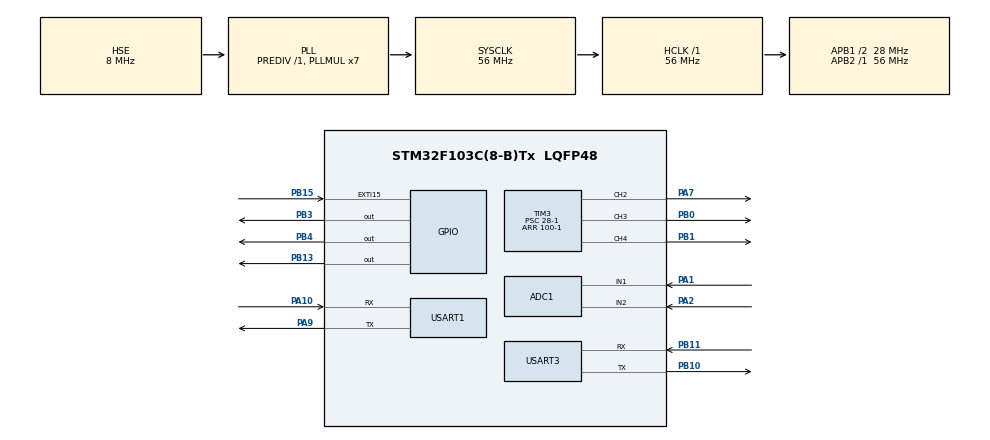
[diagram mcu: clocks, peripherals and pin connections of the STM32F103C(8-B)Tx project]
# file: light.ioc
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ADC1.Channel-0\#ChannelRegularConversion=ADC_CHANNEL_1
ADC1.Channel-1\#ChannelRegularConversion=ADC_CHANNEL_2
ADC1.ContinuousConvMode=DISABLE
ADC1.ExternalTrigConv=ADC_SOFTWARE_START
ADC1.NbrOfConversion=2
ADC1.NbrOfConversionFlag=1
ADC1.Rank-0\#ChannelRegularConversion=1
ADC1.Rank-1\#ChannelRegularConversion=2
ADC1.SamplingTime-0\#ChannelRegularConversion=ADC_SAMPLETIME_71CYCLES_5
ADC1.SamplingTime-1\#ChannelRegularConversion=ADC_SAMPLETIME_71CYCLES_5
ADC1.master=1
Dma.ADC1.4.Direction=DMA_PERIPH_TO_MEMORY
Dma.ADC1.4.Instance=DMA1_Channel1
Dma.ADC1.4.MemDataAlignment=DMA_MDATAALIGN_WORD
Dma.ADC1.4.MemInc=DMA_MINC_ENABLE
Dma.ADC1.4.Mode=DMA_CIRCULAR
Dma.ADC1.4.PeriphDataAlignment=DMA_PDATAALIGN_WORD
Dma.ADC1.4.PeriphInc=DMA_PINC_DISABLE
Dma.ADC1.4.Priority=DMA_PRIORITY_LOW
Dma.Request0=USART1_RX
Dma.Request1=USART1_TX
Dma.Request2=USART3_RX
Dma.Request3=USART3_TX
Dma.Request4=ADC1
Dma.USART1_RX.0.Direction=DMA_PERIPH_TO_MEMORY
Dma.USART1_RX.0.Instance=DMA1_Channel5
Dma.USART1_RX.0.MemDataAlignment=DMA_MDATAALIGN_BYTE
Dma.USART1_RX.0.MemInc=DMA_MINC_ENABLE
Dma.USART1_RX.0.Mode=DMA_CIRCULAR
Dma.USART1_RX.0.PeriphDataAlignment=DMA_PDATAALIGN_BYTE
Dma.USART1_RX.0.PeriphInc=DMA_PINC_DISABLE
Dma.USART1_RX.0.Priority=DMA_PRIORITY_LOW
Dma.USART1_TX.1.Direction=DMA_MEMORY_TO_PERIPH
Dma.USART1_TX.1.Instance=DMA1_Channel4
Dma.USART1_TX.1.MemDataAlignment=DMA_MDATAALIGN_BYTE
Dma.USART1_TX.1.MemInc=DMA_MINC_ENABLE
Dma.USART1_TX.1.Mode=DMA_NORMAL
Dma.USART1_TX.1.PeriphDataAlignment=DMA_PDATAALIGN_BYTE
Dma.USART1_TX.1.PeriphInc=DMA_PINC_DISABLE
Dma.USART1_TX.1.Priority=DMA_PRIORITY_LOW
Dma.USART3_RX.2.Direction=DMA_PERIPH_TO_MEMORY
Dma.USART3_RX.2.Instance=DMA1_Channel3
Dma.USART3_RX.2.MemDataAlignment=DMA_MDATAALIGN_BYTE
Dma.USART3_RX.2.MemInc=DMA_MINC_ENABLE
Dma.USART3_RX.2.Mode=DMA_CIRCULAR
Dma.USART3_RX.2.PeriphDataAlignment=DMA_PDATAALIGN_BYTE
Dma.USART3_RX.2.PeriphInc=DMA_PINC_DISABLE
Dma.USART3_RX.2.Priority=DMA_PRIORITY_LOW
Dma.USART3_TX.3.Direction=DMA_MEMORY_TO_PERIPH
Dma.USART3_TX.3.Instance=DMA1_Channel2
Dma.USART3_TX.3.MemDataAlignment=DMA_MDATAALIGN_BYTE
Dma.USART3_TX.3.MemInc=DMA_MINC_ENABLE
Dma.USART3_TX.3.Mode=DMA_NORMAL
Dma.USART3_TX.3.PeriphDataAlignment=DMA_PDATAALIGN_BYTE
Dma.USART3_TX.3.PeriphInc=DMA_PINC_DISABLE
Dma.USART3_TX.3.Priority=DMA_PRIORITY_LOW
Mcu.Family=STM32F1
Mcu.Name=STM32F103C(8-B)Tx
Mcu.Package=LQFP48
NVIC.ADC1_2_IRQn=true\:1\:0\:true\:false\:true\:true\:true
NVIC.DMA1_Channel1_IRQn=true\:0\:0\:false\:false\:true\:false\:true
NVIC.DMA1_Channel2_IRQn=true\:0\:0\:false\:false\:true\:false\:true
NVIC.DMA1_Channel3_IRQn=true\:0\:0\:false\:false\:true\:false\:true
NVIC.DMA1_Channel4_IRQn=true\:0\:0\:false\:false\:true\:false\:true
NVIC.DMA1_Channel5_IRQn=true\:0\:0\:false\:false\:true\:false\:true
NVIC.EXTI15_10_IRQn=true\:1\:0\:true\:false\:true\:true\:true
NVIC.PriorityGroup=NVIC_PRIORITYGROUP_4
NVIC.TIM3_IRQn=true\:1\:0\:true\:false\:true\:true\:true
NVIC.USART1_IRQn=true\:1\:0\:true\:false\:true\:true\:true
NVIC.USART3_IRQn=true\:2\:0\:true\:false\:true\:true\:true
PA1.Signal=ADCx_IN1
PA10.Mode=Asynchronous
PA10.Signal=USART1_RX
PA13.Mode=Serial_Wire
PA13.Signal=SYS_JTMS-SWDIO
PA14.Mode=Serial_Wire
PA14.Signal=SYS_JTCK-SWCLK
PA2.Signal=ADCx_IN2
PA7.Signal=S_TIM3_CH2
PA9.Mode=Asynchronous
PA9.Signal=USART1_TX
PB0.Signal=S_TIM3_CH3
PB1.Signal=S_TIM3_CH4
PB10.Mode=Asynchronous
PB10.Signal=USART3_TX
PB11.Mode=Asynchronous
PB11.Signal=USART3_RX
PB13.Signal=GPIO_Output
PB15.Signal=GPXTI15
PB3.PinState=GPIO_PIN_SET
PB3.Signal=GPIO_Output
PB4.PinState=GPIO_PIN_SET
PB4.Signal=GPIO_Output
PD0-OSC_IN.Mode=HSE-External-Oscillator
PD0-OSC_IN.Signal=RCC_OSC_IN
PD1-OSC_OUT.Mode=HSE-External-Oscillator
PD1-OSC_OUT.Signal=RCC_OSC_OUT
ProjectManager.HeapSize=0x200
ProjectManager.StackSize=0x400
ProjectManager.TargetToolchain=STM32CubeIDE
RCC.ADCPresc=RCC_ADCPCLK2_DIV4
RCC.AHBFreq_Value=56000000
RCC.APB1CLKDivider=RCC_HCLK_DIV2
RCC.APB1Freq_Value=28000000
RCC.APB1TimFreq_Value=56000000
RCC.APB2Freq_Value=56000000
RCC.APB2TimFreq_Value=56000000
RCC.HCLKFreq_Value=56000000
RCC.PLLMUL=RCC_PLL_MUL7
RCC.PLLSourceVirtual=RCC_PLLSOURCE_HSE
RCC.SYSCLKFreq_VALUE=56000000
RCC.SYSCLKSource=RCC_SYSCLKSOURCE_PLLCLK
RCC.USBFreq_Value=56000000
SH.ADCx_IN1.0=ADC1_IN1,IN1
SH.ADCx_IN2.0=ADC1_IN2,IN2
SH.S_TIM3_CH2.0=TIM3_CH2,PWM Generation2 CH2
SH.S_TIM3_CH3.0=TIM3_CH3,PWM Generation3 CH3
SH.S_TIM3_CH4.0=TIM3_CH4,PWM Generation4 CH4
TIM3.Channel-PWM\ Generation2\ CH2=TIM_CHANNEL_2
TIM3.Channel-PWM\ Generation3\ CH3=TIM_CHANNEL_3
TIM3.Channel-PWM\ Generation4\ CH4=TIM_CHANNEL_4
TIM3.Period=100-1
TIM3.Prescaler=28-1
TIM3.TIM_MasterOutputTrigger=TIM_TRGO_RESET
USART1.VirtualMode=VM_ASYNC
USART3.VirtualMode=VM_ASYNC
VP_TIM3_VS_ClockSourceINT.Mode=Internal
board=custom

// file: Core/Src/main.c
/* USER CODE BEGIN Header */
/**
  ******************************************************************************
  * @file           : main.c
  * @brief          : Main program body
  ******************************************************************************
  * @attention
  *
  * <h2><center>&copy; Copyright (c) 2020 STMicroelectronics.
  * All rights reserved.</center></h2>
  *
  * This software component is licensed by ST under BSD 3-Clause license,
  * the "License"; You may not use this file except in compliance with the
  * License. You may obtain a copy of the License at:
  *                        opensource.org/licenses/BSD-3-Clause
  *
  ******************************************************************************
  */
/**
 * 时钟及引脚配置
 *
 * 外部8MHz时钟，APB2时钟为56MHz,ADC为14MHz
 * ADC_CH1,ADC_CH2采样时间为71.5+12.5 Cycle
 * TIM3用于定时采集声音及光线强度，在APB2总线上，考虑到人听音范围为20Hz-20KHz，故设定Prescaler=14-1,Counter Peroid=100-1
 * 求得TIM的中断频率为 APB2Clock/((Prescaler+1)*(Counter Peroid+1))=20KHz,根据奈奎斯特采样定律应取40KHz,但受限于硬件设施，这里取10KHz
 * 同时ADC的转换时间为Sampling Time = (Cycle+12.5)/F × cn = 12us, 小于中断时间100us，每次中断AD转换可以完成
 * 用于驱动全彩LED的PWM输出引脚，其PWM占空比的计算为 PSB = Pulse/Counter Peroid，Plus对应到TIM3->CCRn
 *
 * PA9-USART1_TX: ZigBee_Rx-17
 * PA10-USART1_RX: ZigBee_Tx-16
 * PB3-GPIO_Output: ZigBee_Mode-13
 * PB4-GPIO_Output: ZigBee_RST
 *
 * PB10-USART3_TX: Debug_Rx
 * PB11-USART3_RX: Debug_Tx
 *
 * PB15-GPIO_Exit: TouchSwitch-IO
 * PB13-GPIO_Output: Relay-IN
 *
 * PA1-ADC1_IN1: LightSensor-S
 * PA2-ADC2_IN2: VoiceSensor-AO
 *
 * PA7-TIM3_CH2: FulColoredLED_R
 * PB0-TIM3_CH3: FulColoredLED_G
 * PB1-TIM3_CH4: FulColoredLED_B
 */
/* USER CODE END Header */

#include "main.h"

/* USER CODE BEGIN Includes */
#include "stdio.h"
#include "math.h"
/* USER CODE END Includes */

/* USER CODE BEGIN PD */

// 用于串口输出到ZigBee的数组的大小
#define UART_ZB_BUF_SIZE 10
// 用于串口输出到Log的数组大小
#define UART_LOG_BUF_SIZE 128

// 声音信号的暂存数组大小
#define VOICE_BUF_SIZE 100
#define VOICE_BUF_PER_SIZE 100

// 存储前ns声音信号的值
#define VOICE_STORE_N 3

// ZigBee 发送数据长度
#define ZB_SEND_DATA_LEN 8
// ZigBee 接收数据长度
#define ZB_RECEIVE_DATA_LEN 5

// 串口输出到ZigBee，DMA方式
#define sendToZBByDMA(...) HAL_UART_Transmit_DMA(&huart1,\
										(uint8_t*)uart_ZB_buf,\
										sprintf(uart_ZB_buf, __VA_ARGS__))
// 串口输出到ZigBee，IT方式
#define sendToZBByIT(...) HAL_UART_Transmit_IT(&huart1,\
										(uint8_t*)uart_ZB_buf,\
										sprintf(uart_ZB_buf, __VA_ARGS__))
// 串口输出到Log，DMA方式
#define sendToLogByDMA(...) HAL_UART_Transmit_DMA(&huart3,\
										(uint8_t*)uart_log_buf,\
										sprintf(uart_log_buf, __VA_ARGS__))
// 串口输出到Log，IT方式
#define sendToLogByIT(...) HAL_UART_Transmit_IT(&huart3,\
										(uint8_t*)uart_log_buf,\
										sprintf(uart_log_buf, __VA_ARGS__))
/* USER CODE END PD */

ADC_HandleTypeDef hadc1;
DMA_HandleTypeDef hdma_adc1;

TIM_HandleTypeDef htim3;

UART_HandleTypeDef huart1;
UART_HandleTypeDef huart3;
DMA_HandleTypeDef hdma_usart1_rx;
DMA_HandleTypeDef hdma_usart1_tx;
DMA_HandleTypeDef hdma_usart3_rx;
DMA_HandleTypeDef hdma_usart3_tx;

/* USER CODE BEGIN PV */

// 设备地址
const char DEVICE_ADDRESS = 'b';
// 设备类型
const char DEVICE_TYPE = 'b';
// 配对码
const char DEVICE_PAIR = 'n';

// 上次执行的命令代码
char cmd_idx = 0;

// 场景模式开关
// 1. 进门灯 2. 声控灯 3. 人体感应灯 4. 离家 5. 定时 6. 自动
char state[6] = {'b'};
uint16_t voice_light_count = 0;
uint8_t voice_light_on = 0;

// ZigBee接收到数据的标志
uint8_t is_ZB_rec = 0;
// ZigBee接收数据缓存
uint8_t ZB_rec_buf[ZB_RECEIVE_DATA_LEN];
// 用于串口输出到ZigBee的数组的大小
char uart_ZB_buf[UART_ZB_BUF_SIZE];
char zb_send[UART_ZB_BUF_SIZE];

// 用于串口输出到Log的数组
char uart_log_buf[UART_LOG_BUF_SIZE];

// 用于ADC转换存储的数组
uint32_t adc_buf[2];

// 用于记录当前1s内采集到的声音信号
uint8_t voice_s[VOICE_BUF_SIZE] = {0};
// 用于记录当前1/200s内采集到的声音信号
uint8_t voice_s_p[VOICE_BUF_PER_SIZE] = {0};
// 上述对应信号容器的索引值
uint8_t voice_s_idx = 0;
uint8_t voice_s_p_idx = 0;

// 用于存储前ns声音信号的最大值
uint8_t voice_t[VOICE_STORE_N] = {0};
uint8_t voice_t_idx = 0;

// 当前信号转换后的值
uint8_t light_current = 0;
uint8_t voice_current = 0;

/* USER CODE END PV */

void SystemClock_Config(void);
static void MX_GPIO_Init(void);
static void MX_DMA_Init(void);
static void MX_ADC1_Init(void);
static void MX_TIM3_Init(void);
static void MX_USART1_UART_Init(void);
static void MX_USART3_UART_Init(void);
/* USER CODE BEGIN PFP */

// 控制全彩LED的函数，细致控制
// 该LED，RGB通道的额定电压为1v8-2v,3v2-3v4,3v2-3v4;最高亮度为1200,5000,3000
// 参数r,g,b取值为0-100,为对应通道的亮度
void setLED(uint8_t r, uint8_t g, uint8_t b){
	float nmbda_h = 0.8;
	float nmbda_r = 0.6;
	float nmbda_g = 0.4;
	float nmbda_b = 0.7;
	TIM3->CCR2 = floor(r*nmbda_h*nmbda_r);
	TIM3->CCR3 = floor(g*nmbda_h*nmbda_g);
	TIM3->CCR4 = floor(b*nmbda_h*nmbda_b);
}

// 按照预定状态控制LED
void setLevLED(uint8_t lev){
	uint8_t r=0,g=0,b=0;
	switch(lev){
		case 0: r=55, g=10, b=10;break;
		case 1: r=10, g=50, b=10;break;
		case 2: r=10, g=10, b=60;break;
		default: r=55, g=10, b=10;
	}
	TIM3->CCR2 = r;
	TIM3->CCR3 = g;
	TIM3->CCR4 = b;
}

// 复制数组
void copyMat(uint8_t *a, uint8_t *b, uint8_t len){
	for(int i = 0; i< len; i++){
		b[i] = a[i];
	}
}

/* USER CODE END PFP */

int main(void)
{

  /* MCU Configuration--------------------------------------------------------*/

  /* Reset of all peripherals, Initializes the Flash interface and the Systick. */
  HAL_Init();

  /* Configure the system clock */
  SystemClock_Config();

  /* Initialize all configured peripherals */
  MX_GPIO_Init();
  MX_DMA_Init();
  MX_ADC1_Init();
  MX_TIM3_Init();
  MX_USART1_UART_Init();
  MX_USART3_UART_Init();
  /* USER CODE BEGIN 2 */

  sendToLogByDMA("device init success!\n");
  HAL_Delay(20);
  // 开启时钟
  if(HAL_OK != HAL_TIM_Base_Start_IT(&htim3))
	  Error_Handler();

  // 开启全彩LED的PWM引脚
  TIM3->CCR2 = 60;
  TIM3->CCR3 = 40;
  TIM3->CCR4 = 30;
  HAL_TIM_PWM_Start(&htim3, TIM_CHANNEL_2);
  HAL_TIM_PWM_Start(&htim3, TIM_CHANNEL_3);
  HAL_TIM_PWM_Start(&htim3, TIM_CHANNEL_4);
  HAL_Delay(2000);
  TIM3->CCR2 = 30;
  TIM3->CCR3 = 40;
  TIM3->CCR4 = 50;
  // 串口1使用DMA方式循环接收数据
  HAL_UART_Receive_DMA(&huart1,\
		  	  	  	   ZB_rec_buf,\
  					   ZB_RECEIVE_DATA_LEN);
  // 用于处理指令的缓存
  // uint8_t ZB_cache[ZB_RECEIVE_DATA_LEN] = {0};
  /* USER CODE END 2 */

  /* Infinite loop */
  /* USER CODE BEGIN WHILE */
  uint8_t zb_cache[ZB_RECEIVE_DATA_LEN] = {0};
  while (1)
  {
	  // ZigBee接收到指令
	  if(is_ZB_rec == 1){
		  // 将指令复制到cache
		  copyMat(ZB_rec_buf, zb_cache, ZB_RECEIVE_DATA_LEN);
		  is_ZB_rec = 0;
		  // 若已近处理则抛弃
		  if(zb_cache[1] == cmd_idx){
			  continue;
		  }else{
			  cmd_idx = zb_cache[1];
			  // 处理指令，配对
			  if(zb_cache[2] == 'a'){
				  if((DEVICE_PAIR == zb_cache[3]) && (DEVICE_TYPE == zb_cache[4])){
					  zb_send[2] = 'T';
				  }else{
					  zb_send[2] = 'F';
				  }
				  zb_send[0] = DEVICE_ADDRESS;
				  zb_send[1] = cmd_idx;
				  zb_send[3] = '|';
				  sendToZBByDMA(zb_send);
			  // 处理指令，控制灯的状态
			  }else if(zb_cache[2] == 'b'){
				  if(zb_cache[3] == 'a'){
					  HAL_GPIO_WritePin(GPIOB, GPIO_PIN_13, GPIO_PIN_SET);
					  zb_send[2] = 'T';
				  }else{
					  HAL_GPIO_WritePin(GPIOB, GPIO_PIN_13, GPIO_PIN_RESET);
					  zb_send[2] = 'T';
				  }
				  zb_send[0] = DEVICE_ADDRESS;
				  zb_send[1] = cmd_idx;
				  zb_send[3] = '|';
				  sendToZBByDMA(zb_send);
			  // 处理指令，获取灯的状态
			  }else if(zb_cache[2] == 'c'){
				  GPIO_PinState lightState = HAL_GPIO_ReadPin(GPIOB, GPIO_PIN_13);
				  if(lightState == GPIO_PIN_SET){
					  zb_send[2] = 'a';
				  }else{
					  zb_send[2] = 'b';
				  }
				  zb_send[0] = DEVICE_ADDRESS;
				  zb_send[1] = cmd_idx;
				  zb_send[3] = '|';
				  sendToZBByDMA(zb_send);
			  // 处理指令，调整指示灯状态
			  }else if(zb_cache[2] == 'd'){
				  if(zb_cache[3] == 'a'){
					  setLevLED(0);
				  }else if(zb_cache[3] == 'b'){
					  setLevLED(1);
				  }else if(zb_cache[3] == 'c'){
					  setLevLED(2);
				  }else{
					  setLevLED(0);
				  }
				  zb_send[0] = DEVICE_ADDRESS;
				  zb_send[1] = cmd_idx;
				  zb_send[2] = 'T';
				  zb_send[3] = '|';
				  sendToZBByDMA(zb_send);
			  // 处理指令，调整应用场景
			  }else if(zb_cache[2] == 'e'){
				  if((zb_cache[4] == 'c') && (zb_cache[3] == 'z')){
					  zb_send[0] = DEVICE_ADDRESS;
					  zb_send[1] = cmd_idx;
					  zb_send[2] = state[0];
					  zb_send[3] = state[1];
					  zb_send[4] = state[2];
					  zb_send[5] = state[3];
					  zb_send[6] = state[4];
					  zb_send[7] = state[5];
					  zb_send[8] = '|';
					  sendToZBByDMA(zb_send);
				  }else{
					  if(zb_cache[3] == 'a'){
						  state[0] = zb_cache[4];
					  }else if(zb_cache[3] == 'b'){
						  state[1] = zb_cache[4];
					  }else if(zb_cache[3] == 'c'){
						  state[2] = zb_cache[4];
					  }else if(zb_cache[3] == 'd'){
						  state[3] = zb_cache[4];
					  }else if(zb_cache[3] == 'e'){
						  state[4] = zb_cache[4];
					  }else if(zb_cache[3] == 'f'){
						  state[5] = zb_cache[4];
					  }
					  zb_send[0] = DEVICE_ADDRESS;
					  zb_send[1] = cmd_idx;
					  zb_send[2] = 'T';
					  zb_send[3] = '|';
					  sendToZBByDMA(zb_send);
				  }
			  }
		  }
		  sendToLogByDMA("zb get data! %c, %c, %c, %c, %c\n", ZB_rec_buf[0], ZB_rec_buf[1], ZB_rec_buf[2], ZB_rec_buf[3], ZB_rec_buf[4]);
	  }
    /* USER CODE END WHILE */

    /* USER CODE BEGIN 3 */

	//sendToLogByDMA("v1: %d, v2: %d, v3: %d; v: %d, l: %d\n", voice_t[0], voice_t[1], voice_t[2], voice_current, light_current);
	// sendToZBByDMA("abcde");
	// HAL_Delay(3000);
  }
  /* USER CODE END 3 */
}

void SystemClock_Config(void)
{
  RCC_OscInitTypeDef RCC_OscInitStruct = {0};
  RCC_ClkInitTypeDef RCC_ClkInitStruct = {0};
  RCC_PeriphCLKInitTypeDef PeriphClkInit = {0};

  /** Initializes the CPU, AHB and APB busses clocks
  */
  RCC_OscInitStruct.OscillatorType = RCC_OSCILLATORTYPE_HSE;
  RCC_OscInitStruct.HSEState = RCC_HSE_ON;
  RCC_OscInitStruct.HSEPredivValue = RCC_HSE_PREDIV_DIV1;
  RCC_OscInitStruct.HSIState = RCC_HSI_ON;
  RCC_OscInitStruct.PLL.PLLState = RCC_PLL_ON;
  RCC_OscInitStruct.PLL.PLLSource = RCC_PLLSOURCE_HSE;
  RCC_OscInitStruct.PLL.PLLMUL = RCC_PLL_MUL7;
  if (HAL_RCC_OscConfig(&RCC_OscInitStruct) != HAL_OK)
  {
    Error_Handler();
  }
  /** Initializes the CPU, AHB and APB busses clocks
  */
  RCC_ClkInitStruct.ClockType = RCC_CLOCKTYPE_HCLK|RCC_CLOCKTYPE_SYSCLK
                              |RCC_CLOCKTYPE_PCLK1|RCC_CLOCKTYPE_PCLK2;
  RCC_ClkInitStruct.SYSCLKSource = RCC_SYSCLKSOURCE_PLLCLK;
  RCC_ClkInitStruct.AHBCLKDivider = RCC_SYSCLK_DIV1;
  RCC_ClkInitStruct.APB1CLKDivider = RCC_HCLK_DIV2;
  RCC_ClkInitStruct.APB2CLKDivider = RCC_HCLK_DIV1;

  if (HAL_RCC_ClockConfig(&RCC_ClkInitStruct, FLASH_LATENCY_2) != HAL_OK)
  {
    Error_Handler();
  }
  PeriphClkInit.PeriphClockSelection = RCC_PERIPHCLK_ADC;
  PeriphClkInit.AdcClockSelection = RCC_ADCPCLK2_DIV4;
  if (HAL_RCCEx_PeriphCLKConfig(&PeriphClkInit) != HAL_OK)
  {
    Error_Handler();
  }
}

static void MX_ADC1_Init(void)
{

  ADC_ChannelConfTypeDef sConfig = {0};

  /** Common config
  */
  hadc1.Instance = ADC1;
  hadc1.Init.ScanConvMode = ADC_SCAN_ENABLE;
  hadc1.Init.ContinuousConvMode = DISABLE;
  hadc1.Init.DiscontinuousConvMode = DISABLE;
  hadc1.Init.ExternalTrigConv = ADC_SOFTWARE_START;
  hadc1.Init.DataAlign = ADC_DATAALIGN_RIGHT;
  hadc1.Init.NbrOfConversion = 2;
  if (HAL_ADC_Init(&hadc1) != HAL_OK)
  {
    Error_Handler();
  }
  /** Configure Regular Channel
  */
  sConfig.Channel = ADC_CHANNEL_1;
  sConfig.Rank = ADC_REGULAR_RANK_1;
  sConfig.SamplingTime = ADC_SAMPLETIME_71CYCLES_5;
  if (HAL_ADC_ConfigChannel(&hadc1, &sConfig) != HAL_OK)
  {
    Error_Handler();
  }
  /** Configure Regular Channel
  */
  sConfig.Channel = ADC_CHANNEL_2;
  sConfig.Rank = ADC_REGULAR_RANK_2;
  if (HAL_ADC_ConfigChannel(&hadc1, &sConfig) != HAL_OK)
  {
    Error_Handler();
  }

}

static void MX_TIM3_Init(void)
{

  TIM_ClockConfigTypeDef sClockSourceConfig = {0};
  TIM_MasterConfigTypeDef sMasterConfig = {0};
  TIM_OC_InitTypeDef sConfigOC = {0};

  htim3.Instance = TIM3;
  htim3.Init.Prescaler = 28-1;
  htim3.Init.CounterMode = TIM_COUNTERMODE_UP;
  htim3.Init.Period = 100-1;
  htim3.Init.ClockDivision = TIM_CLOCKDIVISION_DIV1;
  htim3.Init.AutoReloadPreload = TIM_AUTORELOAD_PRELOAD_DISABLE;
  if (HAL_TIM_Base_Init(&htim3) != HAL_OK)
  {
    Error_Handler();
  }
  sClockSourceConfig.ClockSource = TIM_CLOCKSOURCE_INTERNAL;
  if (HAL_TIM_ConfigClockSource(&htim3, &sClockSourceConfig) != HAL_OK)
  {
    Error_Handler();
  }
  if (HAL_TIM_PWM_Init(&htim3) != HAL_OK)
  {
    Error_Handler();
  }
  sMasterConfig.MasterOutputTrigger = TIM_TRGO_RESET;
  sMasterConfig.MasterSlaveMode = TIM_MASTERSLAVEMODE_DISABLE;
  if (HAL_TIMEx_MasterConfigSynchronization(&htim3, &sMasterConfig) != HAL_OK)
  {
    Error_Handler();
  }
  sConfigOC.OCMode = TIM_OCMODE_PWM1;
  sConfigOC.Pulse = 0;
  sConfigOC.OCPolarity = TIM_OCPOLARITY_HIGH;
  sConfigOC.OCFastMode = TIM_OCFAST_DISABLE;
  if (HAL_TIM_PWM_ConfigChannel(&htim3, &sConfigOC, TIM_CHANNEL_2) != HAL_OK)
  {
    Error_Handler();
  }
  if (HAL_TIM_PWM_ConfigChannel(&htim3, &sConfigOC, TIM_CHANNEL_3) != HAL_OK)
  {
    Error_Handler();
  }
  if (HAL_TIM_PWM_ConfigChannel(&htim3, &sConfigOC, TIM_CHANNEL_4) != HAL_OK)
  {
    Error_Handler();
  }
  HAL_TIM_MspPostInit(&htim3);

}

static void MX_USART1_UART_Init(void)
{

  huart1.Instance = USART1;
  huart1.Init.BaudRate = 115200;
  huart1.Init.WordLength = UART_WORDLENGTH_8B;
  huart1.Init.StopBits = UART_STOPBITS_1;
  huart1.Init.Parity = UART_PARITY_NONE;
  huart1.Init.Mode = UART_MODE_TX_RX;
  huart1.Init.HwFlowCtl = UART_HWCONTROL_NONE;
  huart1.Init.OverSampling = UART_OVERSAMPLING_16;
  if (HAL_UART_Init(&huart1) != HAL_OK)
  {
    Error_Handler();
  }

}

static void MX_USART3_UART_Init(void)
{

  huart3.Instance = USART3;
  huart3.Init.BaudRate = 115200;
  huart3.Init.WordLength = UART_WORDLENGTH_8B;
  huart3.Init.StopBits = UART_STOPBITS_1;
  huart3.Init.Parity = UART_PARITY_NONE;
  huart3.Init.Mode = UART_MODE_TX_RX;
  huart3.Init.HwFlowCtl = UART_HWCONTROL_NONE;
  huart3.Init.OverSampling = UART_OVERSAMPLING_16;
  if (HAL_UART_Init(&huart3) != HAL_OK)
  {
    Error_Handler();
  }

}

static void MX_DMA_Init(void)
{

  /* DMA controller clock enable */
  __HAL_RCC_DMA1_CLK_ENABLE();

  /* DMA interrupt init */
  /* DMA1_Channel1_IRQn interrupt configuration */
  HAL_NVIC_SetPriority(DMA1_Channel1_IRQn, 0, 0);
  HAL_NVIC_EnableIRQ(DMA1_Channel1_IRQn);
  /* DMA1_Channel2_IRQn interrupt configuration */
  HAL_NVIC_SetPriority(DMA1_Channel2_IRQn, 0, 0);
  HAL_NVIC_EnableIRQ(DMA1_Channel2_IRQn);
  /* DMA1_Channel3_IRQn interrupt configuration */
  HAL_NVIC_SetPriority(DMA1_Channel3_IRQn, 0, 0);
  HAL_NVIC_EnableIRQ(DMA1_Channel3_IRQn);
  /* DMA1_Channel4_IRQn interrupt configuration */
  HAL_NVIC_SetPriority(DMA1_Channel4_IRQn, 0, 0);
  HAL_NVIC_EnableIRQ(DMA1_Channel4_IRQn);
  /* DMA1_Channel5_IRQn interrupt configuration */
  HAL_NVIC_SetPriority(DMA1_Channel5_IRQn, 0, 0);
  HAL_NVIC_EnableIRQ(DMA1_Channel5_IRQn);

}

static void MX_GPIO_Init(void)
{
  GPIO_InitTypeDef GPIO_InitStruct = {0};

  /* GPIO Ports Clock Enable */
  __HAL_RCC_GPIOD_CLK_ENABLE();
  __HAL_RCC_GPIOA_CLK_ENABLE();
  __HAL_RCC_GPIOB_CLK_ENABLE();

  /*Configure GPIO pin Output Level */
  HAL_GPIO_WritePin(GPIOB, GPIO_PIN_13, GPIO_PIN_RESET);

  /*Configure GPIO pin Output Level */
  HAL_GPIO_WritePin(GPIOB, GPIO_PIN_3|GPIO_PIN_4, GPIO_PIN_SET);

  /*Configure GPIO pins : PB13 PB3 PB4 */
  GPIO_InitStruct.Pin = GPIO_PIN_13|GPIO_PIN_3|GPIO_PIN_4;
  GPIO_InitStruct.Mode = GPIO_MODE_OUTPUT_PP;
  GPIO_InitStruct.Pull = GPIO_NOPULL;
  GPIO_InitStruct.Speed = GPIO_SPEED_FREQ_LOW;
  HAL_GPIO_Init(GPIOB, &GPIO_InitStruct);

  /*Configure GPIO pin : PB15 */
  GPIO_InitStruct.Pin = GPIO_PIN_15;
  GPIO_InitStruct.Mode = GPIO_MODE_IT_RISING;
  GPIO_InitStruct.Pull = GPIO_NOPULL;
  HAL_GPIO_Init(GPIOB, &GPIO_InitStruct);

  /* EXTI interrupt init*/
  HAL_NVIC_SetPriority(EXTI15_10_IRQn, 1, 0);
  HAL_NVIC_EnableIRQ(EXTI15_10_IRQn);

}

/* USER CODE BEGIN 4 */

// 光线传感器的值归一化到0-511
uint8_t sensor_light(uint32_t x){
	return (uint8_t)(x*511/4095);
}

// 声音传感器的值归一化到0-511
uint8_t sensor_voice(uint32_t x){
	return (uint8_t)(x*511/2095);
}

// 返回1/100秒内声音的最大值
uint8_t voice_second_per_max(){
	uint8_t vm = 0;
	for(int i=0; i<VOICE_BUF_PER_SIZE; i++){
		if(voice_s_p[i] > vm){
			vm = voice_s_p[i];
		}
	}
	return vm;
}

// 返回1秒内声音的最大值
uint8_t voice_second_max(){
	uint8_t vm = 0;
	for(int i=0; i<VOICE_BUF_SIZE; i++){
		if(voice_s[i] > vm){
			vm = voice_s[i];
		}
	}
	return vm;
}

// 触摸开关控制灯的亮灭
void HAL_GPIO_EXTI_Callback(uint16_t GPIO_Pin)
{
	if(GPIO_Pin == GPIO_PIN_15){
		HAL_GPIO_TogglePin(GPIOB, GPIO_PIN_13);
	}
}

// TIM3定时器中断,100us一次
void HAL_TIM_PeriodElapsedCallback(TIM_HandleTypeDef *htim){
	  // 执行ADC自动自校准
	  if(HAL_OK != HAL_ADCEx_Calibration_Start(&hadc1))
		  Error_Handler();
	  //开启ADC
	  if(HAL_OK != HAL_ADC_Start_DMA(&hadc1, adc_buf, 2))
		  Error_Handler();

	  // 声光控实现
	  if(state[2] == 'a'){
		  if(voice_light_on == 0){
			  if((light_current < 20) && (voice_current > 200)){
				  HAL_GPIO_WritePin(GPIOB, GPIO_PIN_13, GPIO_PIN_SET);
				  voice_light_on = 1;
			  }
		  }else{
			  voice_light_count++;
		  }
		  if(voice_light_count >= 200){
			  HAL_GPIO_WritePin(GPIOB, GPIO_PIN_13, GPIO_PIN_RESET);
			  voice_light_on = 0;
		  }
	  }
}

// ADC转换完成后回调函数
void HAL_ADC_ConvCpltCallback(ADC_HandleTypeDef* hadc){
	if(HAL_OK != HAL_ADC_Stop_DMA(&hadc1))
		Error_Handler();
	light_current = sensor_light(adc_buf[0]);
	voice_current = sensor_voice(adc_buf[1]);

	// 循环填充声音信号暂存数组
		  if(voice_s_p_idx < VOICE_BUF_PER_SIZE){
			  voice_s_p[voice_s_p_idx] = voice_current;
			  voice_s_p_idx++;
		  }else{
			  // 1/100s
			  voice_s_p_idx = 0;

			  if(voice_s_idx < VOICE_BUF_SIZE){
				  voice_s[voice_s_idx] = voice_second_per_max();
				  voice_s_idx++;
			  }else{
				  // 1s
				  voice_s_idx = 0;

				  if(voice_t_idx < VOICE_STORE_N){
					  voice_t[voice_t_idx] = voice_second_max();
					  // sendToLogByDMA("1s!- %d\n", voice_t[voice_t_idx]);
					  voice_t_idx++;
				  }else{
					  // 3s
					  voice_t_idx = 0;
					  // sendToLogByDMA("3s!- %d - %d - %d\n", voice_t[0], voice_t[1], voice_t[2]);
				  }
			  }
		  }
}

// 串口1收到数据的回调函数
void HAL_UART_RxCpltCallback(UART_HandleTypeDef *huart){
	if (huart->Instance == USART1){
		// 若接收方为自己则接收
		if(ZB_rec_buf[0] == DEVICE_ADDRESS){
			is_ZB_rec = 1;
		}
	}
}

/* USER CODE END 4 */

void Error_Handler(void)
{
}

/************************ (C) COPYRIGHT STMicroelectronics *****END OF FILE****/
